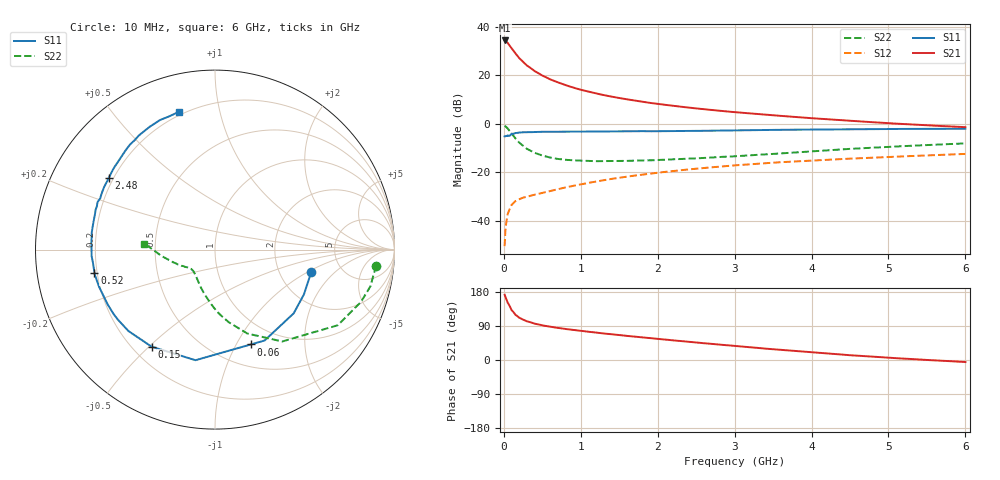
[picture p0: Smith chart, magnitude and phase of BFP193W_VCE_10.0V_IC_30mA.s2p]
! Infineon Technologies  Discrete & RF Semiconductors
! BFP193W
! VCE = 10.0V,  IC =  30 mA
! Common Emitter S-Parameters:  Jan 2016
# GHz  S  MA  R  50
!  f  S11  S21  S12  S22
! GHz  MAG  ANG  MAG  ANG  MAG  ANG  MAG  ANG
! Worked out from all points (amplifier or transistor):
!   210 points, 10 MHz to 6 GHz, reference 50 ohm
!   highest |S21| = 34.4 dB at 10 MHz (marker M1)
!   |S21| within 3 dB of that: start of sweep to 95.81 MHz
!   unconditionally stable (mu >= 1): 905.8 MHz to 4.799 GHz
!   at 185 MHz: K = 0.40, MSG = 29.5 dB, |S12| = -31.3 dB
!   at 1.52 GHz: K = 1.10, MAG = 14.4 dB, |S12| = -22.1 dB
!   at 6 GHz: K = 0.95, MSG = 5.5 dB, |S12| = -12.4 dB
!   S11 on the Smith chart (normalised r, x): 10 MHz: 3.04, -1.07; 60 MHz: 0.74, -1.15; 150 MHz: 0.27, -0.51; 520 MHz: 0.19, -0.09; 2.48 GHz: 0.18, +0.29; 6 GHz: 0.18, +0.75
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0.01  0.5511 -12.8  52.26 172.3  0.003 71.5  0.9018 -5.7
0.02  0.5548 -26.7  51.52 167.3  0.0063 72.1  0.8898 -13.3
0.03  0.5642 -39.0  50.3 161.7  0.0087 71.3  0.864 -19.7
0.05  0.577 -61.4  46.51 151.2  0.0138 64.2  0.8036 -31.6
0.06  0.5648 -69.3  44.13 148.1  0.0152 60.5  0.7619 -35.2
0.1  0.6258 -100.0  36.34 131.9  0.0212 50.8  0.6346 -53.8
0.15  0.6459 -123.1  28.29 119.4  0.0254 44.2  0.5005 -69.0
0.2  0.6621 -136.7  22.62 111.6  0.0278 41.6  0.4101 -79.5
0.24  0.6669 -144.1  19.54 107.4  0.0296 40.9  0.362 -85.7
0.3  0.6714 -152.7  15.9 102.1  0.0313 40.9  0.3047 -94.0
0.4  0.6781 -162.0  12.21 95.9  0.0345 42.6  0.2523 -103.9
0.52  0.6837 -169.2  9.562 90.7  0.0384 45.3  0.2174 -112.6
0.6  0.6831 -173.0  8.276 87.8  0.0412 46.9  0.2018 -117.6
0.7  0.6883 -177.0  7.17 84.7  0.0447 49.2  0.1888 -122.3
1.02  0.6905 174.2  4.942 76.5  0.0571 53.4  0.1731 -132.6
1.4  0.6953 165.6  3.631 67.9  0.0731 55.2  0.1707 -139.3
2.02  0.7044 153.9  2.548 55.3  0.0988 54.6  0.1803 -145.7
2.48  0.7136 146.2  2.093 46.6  0.1178 52.6  0.1936 -150.6
3.1  0.732 136.4  1.687 35.5  0.1426 48.9  0.2192 -157.6
4.1  0.7659 122.5  1.273 18.8  0.1782 42.2  0.276 -169.6
5.1  0.7841 112.1  1.008 4.8  0.2101 35.9  0.3407 -179.3
6  0.7932 104.8  0.853 -5.4  0.2394 31.0  0.3945 175.2
